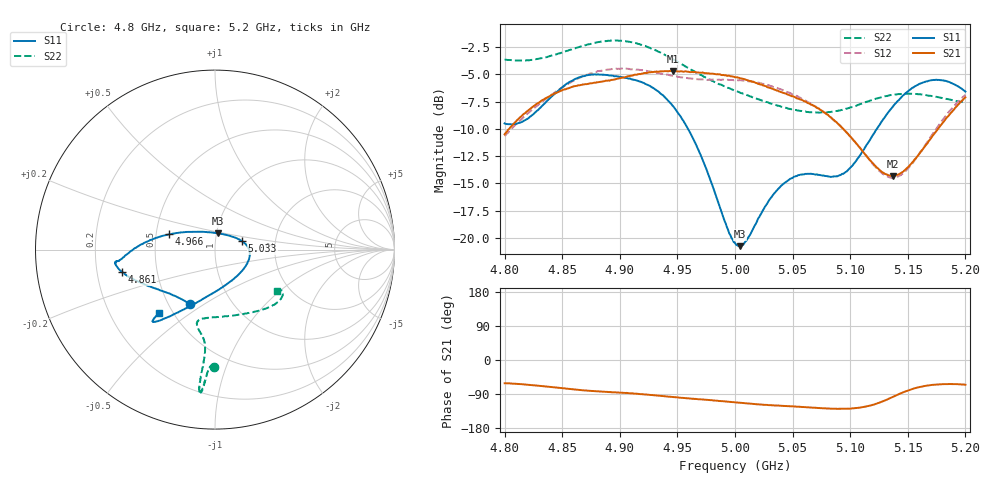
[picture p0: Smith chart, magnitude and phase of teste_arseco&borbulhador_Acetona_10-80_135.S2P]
! Network Analyzer HP8722D
! Hewlett-Packard
! Data name: Linha & Wilkinson
! Saver's name: Rodrigo Anjos
! Comments: Teste da utilização de aquisição
! continua pelo VNA HP8722D
! Time and date: 17/4/2025 15:29
!  Frequency  S11  S21  S12  S22
# HZ  S  MA R 50
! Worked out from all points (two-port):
!   401 points, 4.8 GHz to 5.2 GHz, reference 50 ohm
!   highest |S21| = -4.70 dB at 4.946 GHz (marker M1); lowest = -14.3 dB at 5.137 GHz (marker M2)
!   |S21| within 3 dB of the highest: 4.828 GHz to 5.065 GHz (236.8 MHz wide, 4.79 % of centre); 5.194434 GHz to end of sweep
!   lowest |S11| = -20.7 dB at 5.004 GHz (marker M3), VSWR 1.20, Z = 50.6 + j9.26 ohm
!   |S11| at or under -10 dB: 4.959 GHz to 5.123 GHz (163.9 MHz wide, 3.25 % of centre)
!   |S22| runs from -8.5 to -1.9 dB; largest |S21 - S12| = 0.87
!   S11 on the Smith chart (normalised r, x): 4.8 GHz: 0.64, -0.44; 4.861 GHz: 0.31, -0.11; 4.966 GHz: 0.59, +0.11; 5.033 GHz: 1.35, +0.13; 5.2 GHz: 0.42, -0.38
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4.8e9  0.3349 -114.6  0.2986 -61.3  0.293 -175.5  0.6565 -90.5
4.819e9  0.3499 -134.7  0.379 -64.9  0.3671 -174.5  0.6512 -92.2
4.861e9  0.5343 -166.6  0.4962 -78.0  0.5288 -177.8  0.7378 -94.6
4.867e9  0.5494 -169.0  0.5031 -79.6  0.5469 -178.8  0.7562 -94.8
4.9e9  0.5471 -173.3  0.539 -85.9  0.5953 174.6  0.8001 -96.1
4.934e9  0.4665 -179.2  0.5783 -94.2  0.5693 171.3  0.7112 -96.4
4.946e9  0.4026 175.3  0.5823 -97.7  0.5531 171.4  0.6594 -96.1
4.966e9  0.2692 161.6  0.5739 -102.6  0.5338 173.0  0.5729 -95.6
4.993e9  0.1122 119.1  0.5533 -109.8  0.5308 175.4  0.4903 -98.2
5e9  0.09501 95.6  0.545 -111.9  0.5298 175.4  0.4727 -99.6
5.004e9  0.09187 81.0  0.5409 -112.8  0.5284 175.4  0.4649 -100.5
5.011e9  0.09969 57.4  0.5284 -114.7  0.5228 175.3  0.4506 -102.0
5.033e9  0.1576 17.5  0.4814 -119.6  0.492 174.1  0.4104 -103.5
5.049e9  0.1876 1.5  0.4465 -122.3  0.4579 173.6  0.3889 -99.5
5.067e9  0.1965 -17.5  0.4078 -125.6  0.4096 173.2  0.377 -89.9
5.096e9  0.2007 -68.2  0.3076 -128.6  0.3079 174.5  0.3908 -67.2
5.123e9  0.3158 -109.5  0.2104 -115.1  0.2088 -169.5  0.4359 -48.5
5.134e9  0.3818 -118.3  0.1934 -101.5  0.1899 -154.5  0.4502 -43.1
5.137e9  0.3995 -120.0  0.1924 -97.5  0.1891 -149.7  0.453 -41.8
5.148e9  0.4603 -125.0  0.2061 -82.9  0.2026 -133.0  0.458 -37.6
5.17e9  0.5277 -130.2  0.286 -66.0  0.2915 -112.2  0.4478 -32.4
5.2e9  0.4684 -131.6  0.4408 -65.3  0.4529 -107.4  0.4156 -34.0
